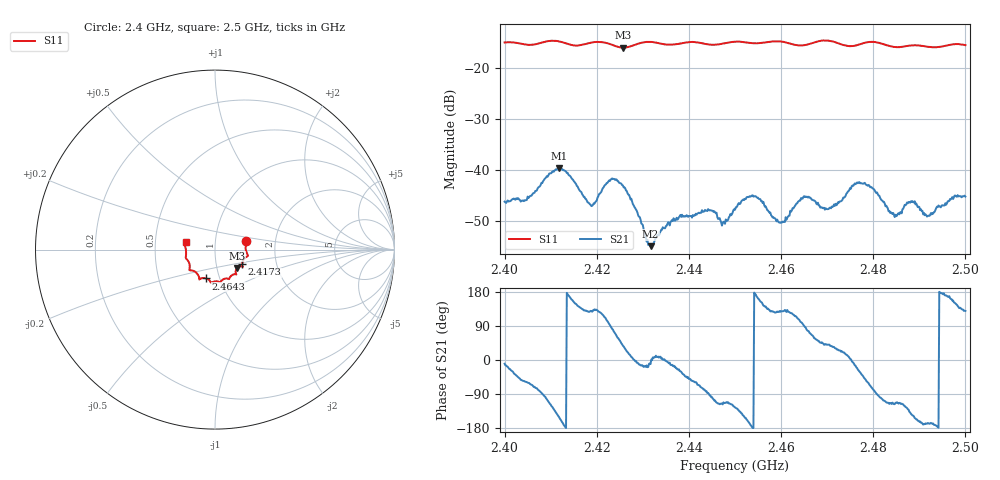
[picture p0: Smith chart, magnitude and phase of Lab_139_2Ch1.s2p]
# Hz S RI R 50
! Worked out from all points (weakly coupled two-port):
!   601 points, 2.4 GHz to 2.5 GHz, reference 50 ohm
!   highest |S21| = -39.67 dB at 2.4118 GHz (marker M1); lowest = -55.0 dB at 2.4317 GHz (marker M2)
!   lowest |S11| = -15.9 dB at 2.4257 GHz (marker M3), VSWR 1.38, Z = 62.5 - j13.1 ohm
!   |S11| at or under -10 dB: start of sweep to end of sweep
!   S12 and S22 are empty: the file has one direction only
!   S11 on the Smith chart (normalised r, x): 2.4 GHz: 1.41, +0.14; 2.4173 GHz: 1.34, -0.23; 2.4643 GHz: 0.86, -0.28; 2.5 GHz: 0.72, +0.06
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2.4e9  0.173 0.0495  0.00481 -0.000828  0 0  0 0
2.404333e9  0.1711 0.0218  0.00281 -0.00417  0 0  0 0
2.411833e9  0.1807 -0.0367  -0.00908 -0.00505  0 0  0 0
2.416667e9  0.1528 -0.0744  -0.00435 0.0042  0 0  0 0
2.417333e9  0.1522 -0.0818  -0.00358 0.00409  0 0  0 0
2.425667e9  0.123 -0.1023  0.00557 0.00433  0 0  0 0
2.431667e9  0.119 -0.1384  0.00175 -0.000337  0 0  0 0
2.433333e9  0.1129 -0.137  0.00225 0.000353  0 0  0 0
2.438333e9  0.0817 -0.1561  0.00295 -0.00179  0 0  0 0
2.444667e9  0.0583 -0.1611  -0.000264 -0.00402  0 0  0 0
2.447333e9  0.0387 -0.1708  -0.00136 -0.00266  0 0  0 0
2.45e9  0.0295 -0.181  -0.00233 -0.00332  0 0  0 0
2.454167e9  0.00892 -0.1765  -0.0055 0.000208  0 0  0 0
2.460333e9  -0.0243 -0.1813  -0.00194 0.00243  0 0  0 0
2.464333e9  -0.05 -0.1606  -0.000915 0.00521  0 0  0 0
2.466667e9  -0.0757 -0.1598  0.00208 0.00465  0 0  0 0
2.470333e9  -0.0874 -0.1657  0.00313 0.00268  0 0  0 0
2.477e9  -0.1268 -0.1164  0.00654 -0.00384  0 0  0 0
2.483333e9  -0.1408 -0.0896  -0.00157 -0.00359  0 0  0 0
2.4885e9  -0.1616 -0.0483  -0.00409 -0.00275  0 0  0 0
2.491833e9  -0.1611 -0.0267  -0.00343 -0.000842  0 0  0 0
2.5e9  -0.1638 0.0425  -0.00348 0.00422  0 0  0 0
